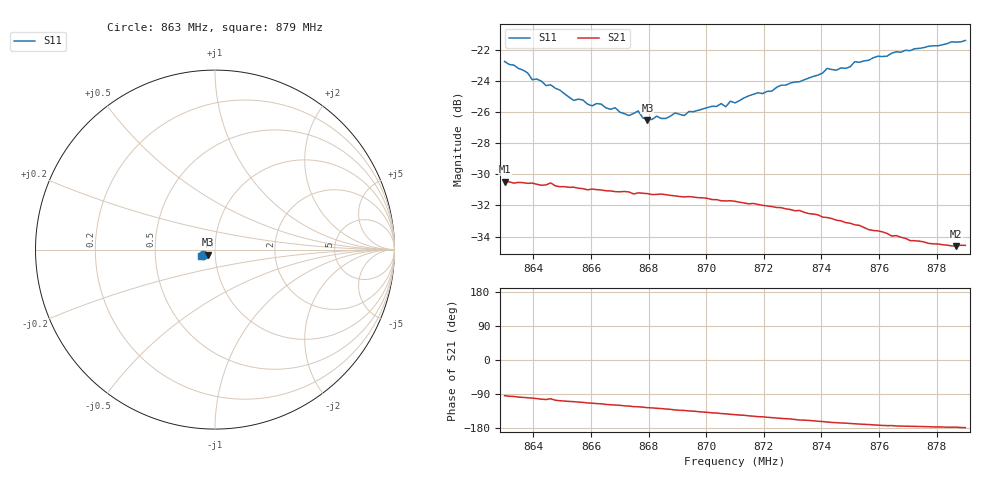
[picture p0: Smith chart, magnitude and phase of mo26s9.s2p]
# HZ S RI R 50
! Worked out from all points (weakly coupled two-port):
!   101 points, 863 MHz to 879 MHz, reference 50 ohm
!   highest |S21| = -30.47 dB at 863 MHz (marker M1); lowest = -34.6 dB at 878.68 MHz (marker M2)
!   lowest |S11| = -26.5 dB at 867.96 MHz (marker M3), VSWR 1.10, Z = 46.3 - j2.66 ohm
!   |S11| at or under -10 dB: start of sweep to end of sweep
!   S12 and S22 are empty: the file has one direction only
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8.63e8  -0.0653 -0.0325  -0.00216 -0.0299  0 0  0 0
8.654e8  -0.048 -0.0261  -0.00978 -0.027  0 0  0 0
8.6572e8  -0.0474 -0.0276  -0.0106 -0.0264  0 0  0 0
8.6604e8  -0.0458 -0.0258  -0.0115 -0.0259  0 0  0 0
8.662e8  -0.0462 -0.0269  -0.012 -0.0256  0 0  0 0
8.6684e8  -0.0434 -0.0282  -0.0134 -0.0244  0 0  0 0
8.6732e8  -0.0402 -0.0278  -0.0145 -0.0237  0 0  0 0
8.6764e8  -0.0402 -0.0307  -0.0152 -0.023  0 0  0 0
8.6796e8  -0.0376 -0.0286  -0.016 -0.0222  0 0  0 0
8.6828e8  -0.037 -0.0315  -0.0166 -0.0217  0 0  0 0
8.6844e8  -0.036 -0.0315  -0.0169 -0.0215  0 0  0 0
8.7052e8  -0.0354 -0.04  -0.0203 -0.0163  0 0  0 0
8.7068e8  -0.0351 -0.0386  -0.0205 -0.0159  0 0  0 0
8.7084e8  -0.037 -0.0398  -0.0209 -0.0155  0 0  0 0
8.71e8  -0.0354 -0.0403  -0.021 -0.0152  0 0  0 0
8.7372e8  -0.0438 -0.0485  -0.0222 -0.00788  0 0  0 0
8.742e8  -0.0487 -0.0493  -0.022 -0.00644  0 0  0 0
8.7484e8  -0.0495 -0.0485  -0.0215 -0.00512  0 0  0 0
8.7516e8  -0.054 -0.0489  -0.0213 -0.00441  0 0  0 0
8.7644e8  -0.0619 -0.0467  -0.0199 -0.00242  0 0  0 0
8.7868e8  -0.0755 -0.0373  -0.0186 -0.000882  0 0  0 0
8.79e8  -0.0775 -0.0355  -0.0187 -0.000514  0 0  0 0
